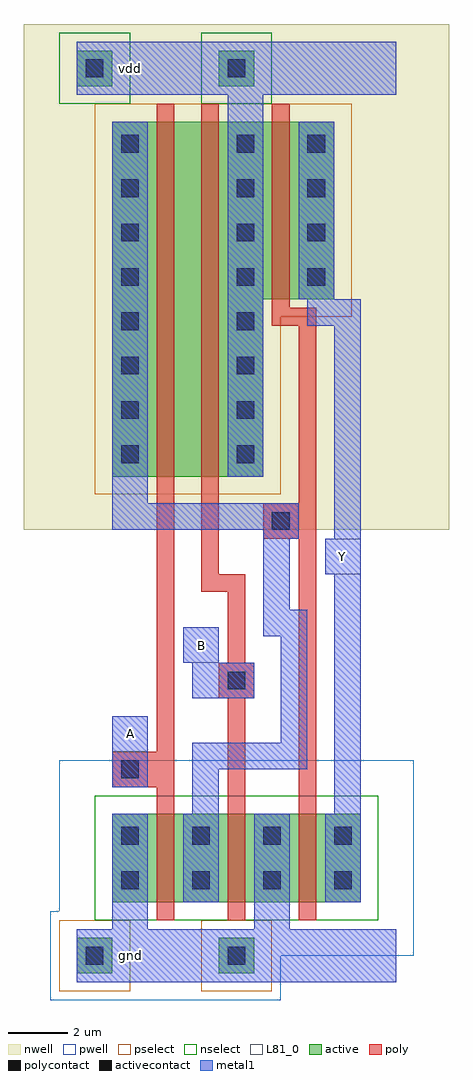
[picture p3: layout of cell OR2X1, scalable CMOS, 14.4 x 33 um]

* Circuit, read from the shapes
.subckt OR2X1 A B Y gnd vdd
M1 n1 A gnd gnd nfet w=3u l=0.6u
M2 gnd B n1 gnd nfet w=3u l=0.6u
M3 Y n1 gnd gnd nfet w=3u l=0.6u
M4 n2 A n1 vdd pfet w=12u l=0.6u
M5 vdd B n2 vdd pfet w=12u l=0.6u
M6 Y n1 vdd vdd pfet w=6u l=0.6u
.ends

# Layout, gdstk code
import gdstk
lib = gdstk.Library(unit=1e-6, precision=1e-09)
def R(c, l, rs):  # rectangles x0, y0, x1, y1
    for r in rs: c.add(gdstk.rectangle(r[:2], r[2:], *l))
def A(c, l, x, y, w, h, nx, ny, dx, dy):  # array of equal rectangles
    R(c, l, [(x+i*dx, y+j*dy, x+i*dx+w, y+j*dy+h) for i in range(nx) for j in range(ny)])
pwell = (41, 0)
nwell = (42, 0)
active = (43, 0)
pselect = (44, 0)
nselect = (45, 0)
poly = (46, 0)
polycontact = (47, 0)
activecontact = (48, 0)
metal1 = (49, 0)
L81_0 = (81, 0)

or2x1 = lib.new_cell('OR2X1')
R(or2x1, pwell, [(-1.5,-1.5,6.3,0), (-1.5,0,10.8,1.5), (-1.2,1.5,10.8,6.6)])
R(or2x1, nwell, [(-2.4,14.4,12,31.5)])
R(or2x1, active, [(-0.6,-0.6,0.6,0.6), (4.2,-0.6,5.4,0.6), (0.6,1.8,9,4.8), (0.6,16.2,5.7,22.2), (0.6,22.2,8.1,28.2), (-0.6,29.4,0.6,30.6), (4.2,29.4,5.4,30.6)])
R(or2x1, pselect, [(-1.2,-1.2,1.2,1.2), (3.6,-1.2,6,1.2), (0,15.6,6.3,21.6), (0,21.6,8.7,28.8)])
R(or2x1, nselect, [(0,1.2,9.6,5.4), (-1.2,28.8,1.2,31.2), (3.6,28.8,6,31.2)])
R(or2x1, poly, [(2.1,1.2,2.7,5.7), (4.5,1.2,5.1,8.7), (6.9,1.2,7.5,14.1), (0.6,5.7,2.7,6.9), (2.1,6.9,2.7,28.8), (4.2,8.7,5.4,9.9), (4.5,9.9,5.1,12.3), (3.6,12.3,5.1,12.9), (3.6,12.9,4.2,28.8), (5.7,14.1,7.5,15.3), (6.9,15.3,7.5,21.3), (6,21.3,7.5,21.9), (6,21.9,6.6,28.8)])
R(or2x1, polycontact, [(0.9,6,1.5,6.6), (4.5,9,5.1,9.6), (6,14.4,6.6,15)])
A(or2x1, activecontact, 0.9, 2.25, 0.6, 0.6, 4, 2, 2.4, 1.5)
A(or2x1, activecontact, 0.9, 16.65, 0.6, 0.6, 1, 8, 0, 1.5)
A(or2x1, activecontact, 4.8, 16.65, 0.6, 0.6, 1, 8, 0, 1.5)
A(or2x1, activecontact, 7.2, 22.65, 0.6, 0.6, 1, 4, 0, 1.5)
R(or2x1, activecontact, [(-0.3,-0.3,0.3,0.3), (4.5,-0.3,5.1,0.3), (-0.3,29.7,0.3,30.3), (4.5,29.7,5.1,30.3)])
R(or2x1, metal1, [(-0.6,-0.9,10.2,0.9), (0.6,0.9,1.8,4.8), (5.4,0.9,6.6,4.8), (3,1.8,4.2,4.8), (7.8,1.8,9,4.8), (3.3,4.8,4.2,6.3), (8.1,4.8,9,12.9), (0.6,5.7,1.8,8.1), (3.3,6.3,7.2,7.2), (6.3,7.2,7.2,10.8), (3.3,8.7,5.4,9.9), (3,9.9,4.2,11.1), (5.7,10.8,7.2,11.7), (5.7,11.7,6.6,14.1), (7.8,12.9,9,14.1), (5.7,14.1,6.9,14.4), (8.1,14.1,9,21.3), (0.6,14.4,6.9,15.3), (0.6,15.3,1.8,28.2), (4.5,16.2,5.7,29.1), (7.2,21.3,9,22.2), (6.9,22.2,8.1,28.2), (-0.6,29.1,10.2,30.9)])
R(or2x1, L81_0, [(0.6,6.9,1.8,8.1), (3,9.9,4.2,11.1), (7.8,12.9,9,14.1)])
or2x1.add(gdstk.Label('Y', (8.4,13.5), layer=49, texttype=0))
or2x1.add(gdstk.Label('B', (3.6,10.5), layer=49, texttype=0))
or2x1.add(gdstk.Label('vdd', (1.2,30), layer=49, texttype=0))
or2x1.add(gdstk.Label('gnd', (1.2,0), layer=49, texttype=0))
or2x1.add(gdstk.Label('A', (1.2,7.5), layer=49, texttype=0))

lib.write_gds('OR2X1.gds')
